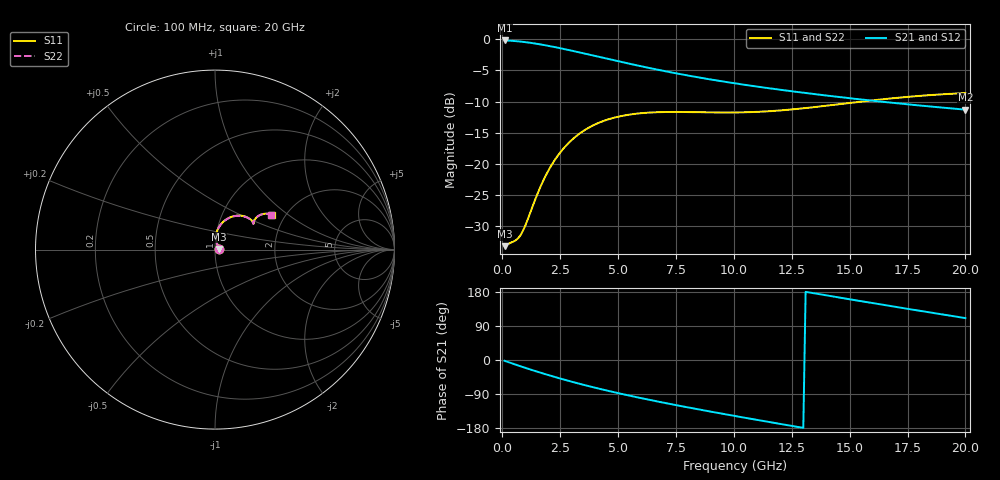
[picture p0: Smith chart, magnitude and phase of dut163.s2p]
! Touchstone file exported from HFSS 2024.1.0
!  File:  C:/UserFiles/LocalFiles/RDL_TSV_Batchsim/temp_RDL_TSV_163_1779434668.aedt
!  Generated:  03:42:57 PM May 22, 2026
!  Design:  RDL_TSV
!  Project:  temp_RDL_TSV_163_1779434668
!  Setup:  Setup1
!  Solution:  Sweep
! Variables:
!  dtsv = 10.41um
!  hbump = 3um
!  htsv = 94.68um
!  ldown = 589.11um
!  lrdl = 405.4um
!  p = 40
!  p1 = 44.32um
!  rhole = 10um
!  subl = 3388.93um
!  t = 450um
!  tdown = 4.8um
!  trdl = 2.98um
!  viad = 10um
!  wdown = 16.3um
!  wrdl = 14.29um
!  xbump = 18um
# GHz S MA R 50.000000
! Terminal data exported
! Port[1] = TM1_1_T1
! Port[2] = TM1_4_T1
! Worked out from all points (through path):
!   200 points, 100 MHz to 20 GHz, reference 50 ohm
!   highest |S21| = -0.20 dB at 100 MHz (marker M1); lowest = -11.3 dB at 20 GHz (marker M2)
!   group delay of S21, straight-line fit = 32.7 ps
!   lowest |S11| = -33.2 dB at 100 MHz (marker M3), VSWR 1.04, Z = 52.2 + j0.299 ohm
!   |S11| at or under -10 dB: start of sweep to 15.5 GHz
!   |S22| runs from -33.2 to -8.7 dB; largest |S21 - S12| = 7.9e-15
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0.1  0.02193 7.5  0.9778 -2.2  0.9778 -2.2  0.02193 7.5
! Gamma 0 0 0 0
! Port Impedance 50 0 50 0
0.6  0.02459 39.1  0.9655 -12.7  0.9655 -12.7  0.0246 39.0
0.8  0.02709 53.8  0.9575 -16.8  0.9575 -16.8  0.0271 53.6
1  0.0323 67.1  0.948 -20.9  0.948 -20.9  0.03229 66.9
1.3  0.04528 79.7  0.9313 -26.8  0.9313 -26.8  0.0452 79.6
1.8  0.0756 85.5  0.8987 -36.3  0.8987 -36.3  0.0754 85.3
2.2  0.103 83.6  0.8699 -43.6  0.8699 -43.6  0.1027 83.5
2.6  0.1303 79.6  0.84 -50.6  0.84 -50.6  0.1298 79.5
3  0.1558 74.8  0.8096 -57.3  0.8096 -57.3  0.1553 74.7
3.5  0.184 68.6  0.7718 -65.4  0.7718 -65.4  0.1833 68.4
4.2  0.2151 60.3  0.7207 -76.0  0.7207 -76.0  0.2142 60.2
5.1  0.2414 51.3  0.6603 -88.8  0.6603 -88.8  0.2403 51.2
5.9  0.2543 45.0  0.6124 -99.4  0.6124 -99.4  0.2531 44.9
6.8  0.2604 39.7  0.5653 -110.7  0.5653 -110.7  0.2591 39.6
8.4  0.2602 34.7  0.4971 -129.5  0.4971 -129.5  0.2587 34.7
10.1  0.2588 34.1  0.4415 -148.3  0.4415 -148.3  0.2574 34.1
11.7  0.2661 35.8  0.4004 -165.5  0.4004 -165.5  0.2648 35.9
13.4  0.2847 37.5  0.3648 176.7  0.3648 176.7  0.2835 37.6
15.1  0.3099 37.7  0.3351 159.2  0.3351 159.2  0.3088 37.8
16.7  0.3342 36.5  0.3114 143.1  0.3114 143.1  0.3331 36.5
18.3  0.3547 34.3  0.291 127.2  0.291 127.2  0.3536 34.3
20  0.3702 31.5  0.2727 110.5  0.2727 110.5  0.3691 31.5
